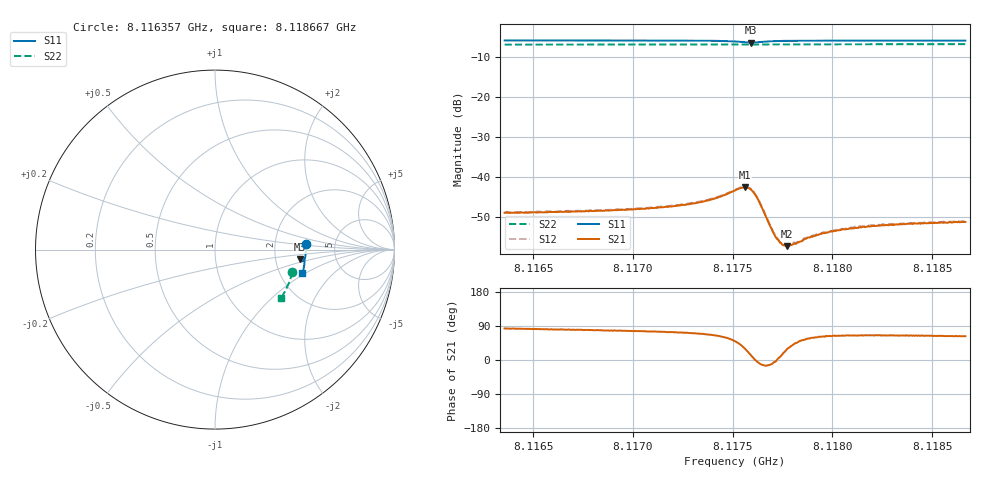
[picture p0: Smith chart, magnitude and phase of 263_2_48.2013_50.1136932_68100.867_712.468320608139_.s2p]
#  HZ  S  RI  R  50.00
! Rohde & Schwarz Vector Network Analyzer
! Rohde-Schwarz,ZNB20-2Port,1311601062101988,3.16
! Created: UTC 3/20/2024, 11:47:51 AM
! freq[Hz]  re:S11  im:S11  re:S21  im:S21  re:S12  im:S12  re:S22  im:S22
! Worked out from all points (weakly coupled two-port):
!   401 points, 8.116357 GHz to 8.118667 GHz, reference 50 ohm
!   highest |S21| = -42.56 dB at 8.117564 GHz (marker M1); lowest = -57.3 dB at 8.117772 GHz (marker M2)
!   lowest |S11| = -6.4 dB at 8.117593 GHz (marker M3), VSWR 2.83, Z = 138 - j19.5 ohm
!   |S11| at or under -10 dB: nowhere
!   |S22| runs from -6.9 to -6.8 dB; largest |S21 - S12| = 0.00019
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8.116357e9  0.5059 0.0316  0.000434 0.00355  0.000458 0.00362  0.4313 -0.1259
8.116744e9  0.5064 0.00235  0.000667 0.00366  0.000757 0.0037  0.4239 -0.1518
8.117131e9  0.5045 -0.0283  0.00111 0.00403  0.00113 0.00409  0.4153 -0.1773
8.1172234e9  0.5037 -0.036  0.00129 0.0042  0.00139 0.00425  0.4128 -0.1835
8.1173447e9  0.5012 -0.047  0.00176 0.00456  0.00182 0.00466  0.4095 -0.1913
8.1174313e9  0.4977 -0.0559  0.00252 0.00502  0.00261 0.00508  0.407 -0.1968
8.1175122e9  0.4886 -0.064  0.0044 0.00519  0.00453 0.00524  0.4045 -0.2022
8.1175642e9  0.4776 -0.062  0.00653 0.0036  0.00671 0.00356  0.4024 -0.2051
8.1175931e9  0.4747 -0.0544  0.00682 0.00144  0.00693 0.0014  0.4016 -0.2063
8.1176104e9  0.4763 -0.0496  0.00619 0.000186  0.00629 0.000185  0.4015 -0.2071
8.1176277e9  0.4801 -0.0466  0.00522 -0.000584  0.00531 -0.000595  0.401 -0.208
8.1176913e9  0.493 -0.0497  0.00232 -0.000482  0.00238 -0.000508  0.3997 -0.2122
8.1177144e9  0.4953 -0.0527  0.0018 -0.000144  0.00185 -0.00015  0.3991 -0.2137
8.1177432e9  0.4971 -0.0564  0.00148 0.000287  0.00147 0.000284  0.3983 -0.2157
8.1177721e9  0.4981 -0.0601  0.00121 0.000646  0.00128 0.000616  0.3973 -0.2174
8.1177894e9  0.4984 -0.062  0.00114 0.000807  0.00116 0.000815  0.3968 -0.2187
8.1178992e9  0.4987 -0.0731  0.000932 0.00153  0.00097 0.00156  0.3934 -0.2255
8.1179454e9  0.4984 -0.0775  0.000924 0.00172  0.000976 0.00172  0.3919 -0.2287
8.1180551e9  0.4972 -0.0867  0.000975 0.002  0.000988 0.002  0.3882 -0.2354
8.1181245e9  0.4964 -0.0924  0.001 0.00209  0.00104 0.00214  0.386 -0.2396
8.1182862e9  0.4939 -0.1049  0.00105 0.0023  0.00113 0.00234  0.3801 -0.2494
8.1186674e9  0.4868 -0.1331  0.00126 0.00244  0.00132 0.0025  0.3658 -0.272
